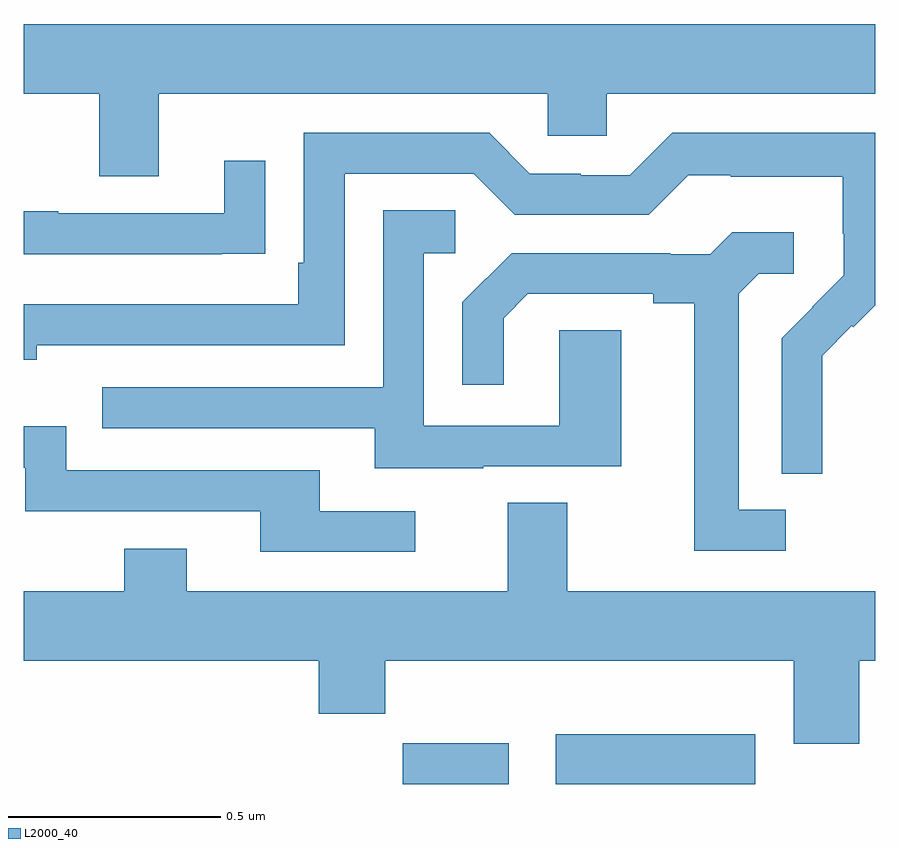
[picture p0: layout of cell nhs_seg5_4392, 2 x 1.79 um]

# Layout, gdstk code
import gdstk
lib = gdstk.Library(unit=1e-6, precision=1e-09)
def R(c, l, rs):  # rectangles x0, y0, x1, y1
    for r in rs: c.add(gdstk.rectangle(r[:2], r[2:], *l))
def P(c, l, *ps):  # polygons
    for p in ps: c.add(gdstk.Polygon(p, *l))
L2000_40 = (2000, 40)

nhs_seg5_4392 = lib.new_cell('nhs_seg5_4392')
R(nhs_seg5_4392, L2000_40, [(170.89,861.799,171.139,861.895), (171.249,861.799,171.718,861.916)])
P(nhs_seg5_4392, L2000_40, [(170.317,863.42),(171.231,863.42),(171.231,863.322),(171.369,863.322),(171.369,863.42),(172,863.42),(172,863.584),(170,863.584),(170,863.42),(170.177,863.42),(170.177,863.226),(170.317,863.226)],
  [(171.876,862.682),(171.875,862.682),(171.875,862.805),(171.945,862.875),(171.948,862.872),(172,862.924),(172,863.329),(171.523,863.329),(171.423,863.229),(171.308,863.229),(171.308,863.232),(171.189,863.232),(171.093,863.328),(170.658,863.328),(170.658,863.023),(170.645,863.023),(170.645,862.926),(170,862.926),(170,862.796),(170.03,862.796),(170.03,862.83),(170.754,862.83),(170.754,863.232),(171.057,863.232),(171.153,863.136),(171.468,863.136),(171.561,863.229),(171.661,863.229),(171.661,863.225),(171.924,863.225),(171.924,863.091),(171.926,863.091),(171.926,862.994),(171.852,862.92),(171.853,862.919),(171.78,862.846),(171.78,862.528),(171.876,862.528)],
  [(170.465,863.044),(170.567,863.044),(170.567,863.263),(170.471,863.263),(170.471,863.139),(170.081,863.139),(170.081,863.144),(170,863.144),(170,863.043),(170.465,863.043)],
  [(171.079,862.545),(171.403,862.545),(171.403,862.865),(171.258,862.865),(171.258,862.641),(170.94,862.641),(170.94,863.046),(171.013,863.046),(171.013,863.147),(170.844,863.147),(170.844,862.731),(170.185,862.731),(170.185,862.635),(170.825,862.635),(170.825,862.541),(171.079,862.541)],
  [(171.79,862.443),(171.679,862.443),(171.679,862.951),(171.726,862.998),(171.808,862.998),(171.808,863.095),(171.664,863.095),(171.612,863.043),(171.518,863.043),(171.518,863.046),(171.146,863.046),(171.03,862.93),(171.03,862.737),(171.127,862.737),(171.127,862.893),(171.184,862.95),(171.479,862.95),(171.479,862.928),(171.575,862.928),(171.575,862.347),(171.79,862.347)],
  [(170.92,862.44),(170.695,862.44),(170.695,862.536),(170.1,862.536),(170.1,862.639),(170,862.639),(170,862.542),(170.004,862.542),(170.004,862.44),(170.555,862.44),(170.555,862.344),(170.92,862.344)],
  [(171.962,862.088),(172,862.088),(172,862.252),(171.277,862.252),(171.277,862.46),(171.137,862.46),(171.137,862.252),(170.383,862.252),(170.383,862.351),(170.236,862.351),(170.236,862.252),(170,862.252),(170,862.088),(170.693,862.088),(170.693,861.964),(170.849,861.964),(170.849,862.088),(171.809,862.088),(171.809,861.894),(171.962,861.894)])

lib.write_gds('nhs_seg5_4392.gds')
